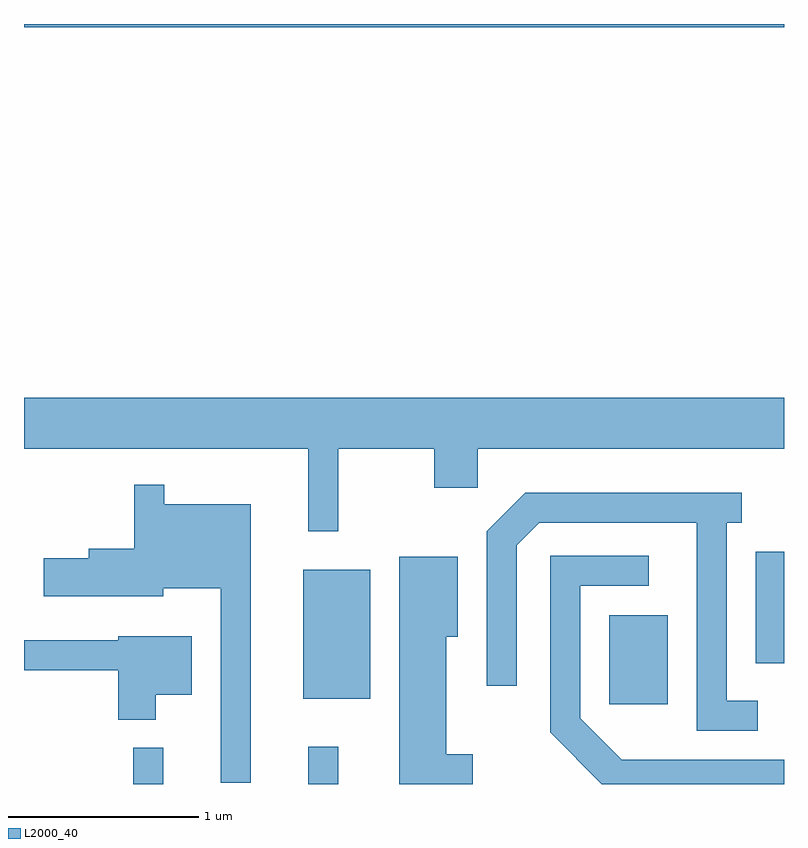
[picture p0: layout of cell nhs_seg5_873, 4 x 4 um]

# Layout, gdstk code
import gdstk
lib = gdstk.Library(unit=1e-6, precision=1e-09)
def R(c, l, rs):  # rectangles x0, y0, x1, y1
    for r in rs: c.add(gdstk.rectangle(r[:2], r[2:], *l))
def P(c, l, *ps):  # polygons
    for p in ps: c.add(gdstk.Polygon(p, *l))
L2000_40 = (2000, 40)

nhs_seg5_873 = lib.new_cell('nhs_seg5_873')
R(nhs_seg5_873, L2000_40, [(210.186,1526.072,210.344,1526.263), (211.106,1526.072,211.264,1526.268), (212.691,1526.491,212.999,1526.959), (211.081,1526.521,211.434,1527.199), (213.461,1526.708,213.611,1527.294), (209.611,1530.056,213.611,1530.072)])
P(nhs_seg5_873, L2000_40, [(211.264,1527.836),(211.771,1527.836),(211.771,1527.631),(211.999,1527.631),(211.999,1527.836),(213.611,1527.836),(213.611,1528.104),(209.611,1528.104),(209.611,1527.836),(211.106,1527.836),(211.106,1527.403),(211.264,1527.403)],
  [(210.804,1527.544),(210.349,1527.544),(210.349,1527.648),(210.191,1527.648),(210.191,1527.309),(209.951,1527.309),(209.951,1527.259),(209.716,1527.259),(209.716,1527.061),(210.344,1527.061),(210.344,1527.101),(210.646,1527.101),(210.646,1526.078),(210.804,1526.078)],
  [(213.473,1526.509),(213.309,1526.509),(213.309,1527.446),(213.388,1527.446),(213.388,1527.604),(212.249,1527.604),(212.046,1527.402),(212.046,1526.588),(212.204,1526.588),(212.204,1527.329),(212.322,1527.446),(213.151,1527.446),(213.151,1526.351),(213.473,1526.351)],
  [(213.611,1526.199),(212.757,1526.199),(212.539,1526.417),(212.539,1527.116),(212.898,1527.116),(212.898,1527.274),(212.381,1527.274),(212.381,1526.344),(212.653,1526.072),(213.611,1526.072)],
  [(211.973,1526.229),(211.834,1526.229),(211.834,1526.846),(211.894,1526.846),(211.894,1527.269),(211.586,1527.269),(211.586,1526.072),(211.973,1526.072)],
  [(210.304,1526.541),(210.494,1526.541),(210.494,1526.849),(210.106,1526.849),(210.106,1526.829),(209.611,1526.829),(209.611,1526.671),(210.106,1526.671),(210.106,1526.411),(210.304,1526.411)])

lib.write_gds('nhs_seg5_873.gds')
